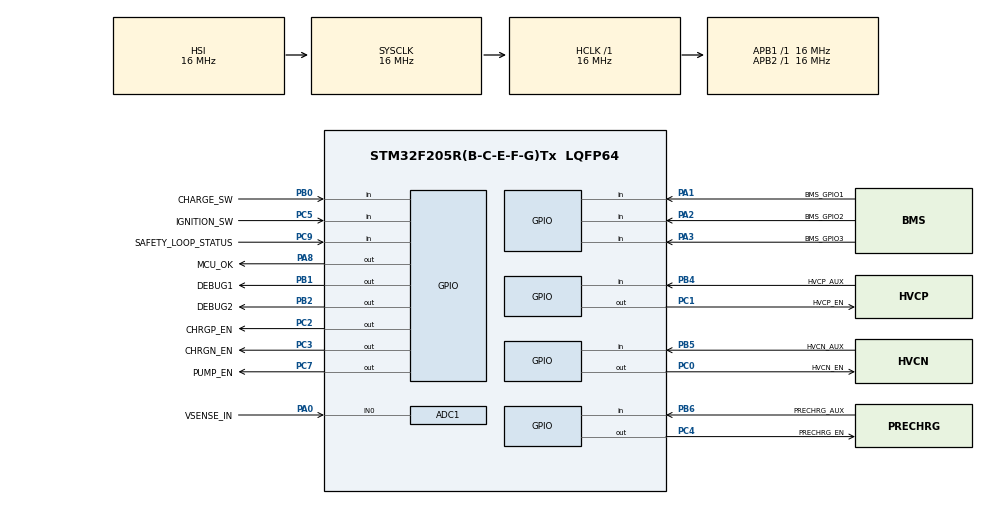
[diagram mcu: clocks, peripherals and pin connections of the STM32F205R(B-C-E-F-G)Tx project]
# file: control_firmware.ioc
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ADC1.Channel-1\#ChannelRegularConversion=ADC_CHANNEL_0
ADC1.NbrOfConversionFlag=1
ADC1.Rank-1\#ChannelRegularConversion=1
ADC1.SamplingTime-1\#ChannelRegularConversion=ADC_SAMPLETIME_3CYCLES
ADC1.master=1
Mcu.Family=STM32F2
Mcu.Name=STM32F205R(B-C-E-F-G)Tx
Mcu.Package=LQFP64
NVIC.PriorityGroup=NVIC_PRIORITYGROUP_4
PA0-WKUP.GPIO_Label=VSENSE_IN
PA0-WKUP.Signal=ADCx_IN0
PA1.GPIO_Label=BMS_GPIO1
PA1.Signal=GPIO_Input
PA2.GPIO_Label=BMS_GPIO2
PA2.Signal=GPIO_Input
PA3.GPIO_Label=BMS_GPIO3
PA3.Signal=GPIO_Input
PA8.GPIO_Label=MCU_OK
PA8.Signal=GPIO_Output
PB0.GPIO_Label=CHARGE_SW
PB0.GPIO_PuPd=GPIO_PULLDOWN
PB0.Signal=GPIO_Input
PB1.GPIO_Label=DEBUG1
PB1.Signal=GPIO_Output
PB2.GPIO_Label=DEBUG2
PB2.Signal=GPIO_Output
PB4.GPIO_Label=HVCP_AUX
PB4.Signal=GPIO_Input
PB5.GPIO_Label=HVCN_AUX
PB5.Signal=GPIO_Input
PB6.GPIO_Label=PRECHRG_AUX
PB6.Signal=GPIO_Input
PC0.GPIO_Label=HVCN_EN
PC0.Signal=GPIO_Output
PC1.GPIO_Label=HVCP_EN
PC1.Signal=GPIO_Output
PC2.GPIO_Label=CHRGP_EN
PC2.Signal=GPIO_Output
PC3.GPIO_Label=CHRGN_EN
PC3.Signal=GPIO_Output
PC4.GPIO_Label=PRECHRG_EN
PC4.Signal=GPIO_Output
PC5.GPIO_Label=IGNITION_SW
PC5.GPIO_PuPd=GPIO_PULLDOWN
PC5.Signal=GPIO_Input
PC7.GPIO_Label=PUMP_EN
PC7.Signal=GPIO_Output
PC9.GPIO_Label=SAFETY_LOOP_STATUS
PC9.Signal=GPIO_Input
ProjectManager.HeapSize=0x200
ProjectManager.StackSize=0x400
ProjectManager.TargetToolchain=STM32CubeIDE
RCC.48MHZClocksFreq_Value=48000000
RCC.AHBFreq_Value=16000000
RCC.APB1Freq_Value=16000000
RCC.APB2Freq_Value=16000000
RCC.CortexFreq_Value=16000000
RCC.HSE_VALUE=25000000
RCC.HSI_VALUE=16000000
RCC.LSE_VALUE=32768
RCC.SYSCLKFreq_VALUE=16000000
RCC.VCOOutputFreq_Value=192000000
SH.ADCx_IN0.0=ADC1_IN0,IN0
board=custom

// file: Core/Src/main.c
/* USER CODE BEGIN Header */
/**
  ******************************************************************************
  * @file           : main.c
  * @brief          : Main program body
  ******************************************************************************
  * @attention
  *
  * Copyright (c) 2024 STMicroelectronics.
  * All rights reserved.
  *
  * This software is licensed under terms that can be found in the LICENSE file
  * in the root directory of this software component.
  * If no LICENSE file comes with this software, it is provided AS-IS.
  *
  ******************************************************************************
  */
/* USER CODE END Header */
#include "main.h"

/* USER CODE BEGIN PD */
// using constants to represent state as int
#define STARTUP		0
#define OPERATION	1
#define	CHARGING	2
#define ERROR		3

/* USER CODE END PD */

ADC_HandleTypeDef hadc1;

void SystemClock_Config(void);
static void MX_GPIO_Init(void);
static void MX_ADC1_Init(void);

/* USER CODE BEGIN 0 */

void error_handler(void){
	HAL_GPIO_WritePin(DEBUG1_GPIO_Port, DEBUG1_Pin, GPIO_PIN_RESET);
	HAL_GPIO_WritePin(DEBUG2_GPIO_Port, DEBUG2_Pin, GPIO_PIN_RESET);
	HAL_GPIO_WritePin(MCU_OK_GPIO_Port, MCU_OK_Pin, GPIO_PIN_RESET);
	// should also close all relays
	// comms over canbus of what the error was?
	while(1){ //freeze everything off
		HAL_Delay(500);
	}
	return;
}

void discharge_handler(void){
	/*
	 Insert code for toggling relays and checking that aux opened
	*/

	// actually discharge the board
	HAL_GPIO_WritePin(MCU_OK_GPIO_Port, MCU_OK_Pin, GPIO_PIN_RESET);
	int i = 0;
	while (i < 5){ // replace w/ vsense code (break? on undervoltage)
		i++;
		HAL_Delay(500);
	}
	HAL_GPIO_WritePin(MCU_OK_GPIO_Port, MCU_OK_Pin, GPIO_PIN_SET);

	// LED demo code
	HAL_GPIO_WritePin(DEBUG1_GPIO_Port, DEBUG1_Pin, GPIO_PIN_RESET);
	return;
}

void toggle_precharge(void){
	/*
	 Insert code for toggling relays and checking that aux closed
	*/

	HAL_GPIO_WritePin(DEBUG1_GPIO_Port, DEBUG1_Pin, GPIO_PIN_SET);
	int i = 0;
	while (i < 5){ // replace w/ vsense code (break? on undervoltage)
		i++;
		HAL_GPIO_TogglePin(DEBUG1_GPIO_Port, DEBUG1_Pin);
		HAL_GPIO_TogglePin(DEBUG2_GPIO_Port, DEBUG2_Pin);
		HAL_Delay(500);
	}

	// LED demo code
	HAL_GPIO_WritePin(DEBUG1_GPIO_Port, DEBUG1_Pin, GPIO_PIN_SET);
	HAL_GPIO_WritePin(DEBUG2_GPIO_Port, DEBUG2_Pin, GPIO_PIN_RESET);
	return;
}

void toggle_charging(void){
	HAL_GPIO_WritePin(DEBUG2_GPIO_Port, DEBUG2_Pin, GPIO_PIN_SET);
	return;
}

void untoggle_charging(void){
	HAL_GPIO_WritePin(DEBUG2_GPIO_Port, DEBUG2_Pin, GPIO_PIN_RESET);
	return;
}

uint8_t get_switch_status(void){
	if (HAL_GPIO_ReadPin(IGNITION_SW_GPIO_Port, IGNITION_SW_Pin) == GPIO_PIN_SET){
		if (HAL_GPIO_ReadPin(CHARGE_SW_GPIO_Port, CHARGE_SW_Pin) == GPIO_PIN_SET){
			return ERROR;
		} else {
			return OPERATION;
		}
	} else {
		if (HAL_GPIO_ReadPin(CHARGE_SW_GPIO_Port, CHARGE_SW_Pin) == GPIO_PIN_SET){
			return CHARGING;
		} else {
			return STARTUP;
		}
	}
	return ERROR;
}

void aux_check(uint8_t){
	HAL_Delay(500);
	return;
	//placeholder
}

/* USER CODE END 0 */

int main(void)
{

  /* MCU Configuration--------------------------------------------------------*/

  /* Reset of all peripherals, Initializes the Flash interface and the Systick. */
  HAL_Init();

  /* Configure the system clock */
  SystemClock_Config();

  /* Initialize all configured peripherals */
  MX_GPIO_Init();
  MX_ADC1_Init();
  /* USER CODE BEGIN 2 */

  // Setup
  uint8_t status = STARTUP;
  uint8_t new_status;
  HAL_Delay(500);
  HAL_GPIO_WritePin(MCU_OK_GPIO_Port, MCU_OK_Pin, GPIO_PIN_SET);

  /* USER CODE END 2 */

  /* Infinite loop */
  /* USER CODE BEGIN WHILE */
  while (1)
  {
	  new_status = get_switch_status();
	  if (new_status == ERROR){
		  error_handler();
	  }

	  if(new_status != status){ // handles change of switch state
		  if (status == STARTUP){ // where can you go from startup:
			  if (new_status == OPERATION){
				  toggle_precharge();
				  status = OPERATION;
			  } else if (new_status == CHARGING){
				  toggle_charging();
				  status = CHARGING;
			  } else {
				  error_handler(); // should never reach here
			  }
		  } else if (status == OPERATION){ // where can you go from operation:
			  if (new_status == STARTUP){
				  discharge_handler();
				  status = STARTUP;
			  } else {
				  error_handler(); // should never reach here
			  }
		  } else if (status == CHARGING){ // where can you go from operation:
			  if (new_status == STARTUP){
				  untoggle_charging();
				  status = STARTUP;
			  } else {
				  error_handler(); // should never reach here
			  }
		  } else {
			  status = ERROR;
			  error_handler();
		  }
	  }

	  aux_check(status); // to be implemented
    /* USER CODE END WHILE */

  }
}

void SystemClock_Config(void)
{
  RCC_OscInitTypeDef RCC_OscInitStruct = {0};
  RCC_ClkInitTypeDef RCC_ClkInitStruct = {0};

  /** Initializes the RCC Oscillators according to the specified parameters
  * in the RCC_OscInitTypeDef structure.
  */
  RCC_OscInitStruct.OscillatorType = RCC_OSCILLATORTYPE_HSI;
  RCC_OscInitStruct.HSIState = RCC_HSI_ON;
  RCC_OscInitStruct.HSICalibrationValue = RCC_HSICALIBRATION_DEFAULT;
  RCC_OscInitStruct.PLL.PLLState = RCC_PLL_NONE;
  if (HAL_RCC_OscConfig(&RCC_OscInitStruct) != HAL_OK)
  {
    Error_Handler();
  }

  /** Initializes the CPU, AHB and APB buses clocks
  */
  RCC_ClkInitStruct.ClockType = RCC_CLOCKTYPE_HCLK|RCC_CLOCKTYPE_SYSCLK
                              |RCC_CLOCKTYPE_PCLK1|RCC_CLOCKTYPE_PCLK2;
  RCC_ClkInitStruct.SYSCLKSource = RCC_SYSCLKSOURCE_HSI;
  RCC_ClkInitStruct.AHBCLKDivider = RCC_SYSCLK_DIV1;
  RCC_ClkInitStruct.APB1CLKDivider = RCC_HCLK_DIV1;
  RCC_ClkInitStruct.APB2CLKDivider = RCC_HCLK_DIV1;

  if (HAL_RCC_ClockConfig(&RCC_ClkInitStruct, FLASH_LATENCY_0) != HAL_OK)
  {
    Error_Handler();
  }
}

static void MX_ADC1_Init(void)
{

  ADC_ChannelConfTypeDef sConfig = {0};

  /** Configure the global features of the ADC (Clock, Resolution, Data Alignment and number of conversion)
  */
  hadc1.Instance = ADC1;
  hadc1.Init.ClockPrescaler = ADC_CLOCK_SYNC_PCLK_DIV2;
  hadc1.Init.Resolution = ADC_RESOLUTION_12B;
  hadc1.Init.ScanConvMode = DISABLE;
  hadc1.Init.ContinuousConvMode = DISABLE;
  hadc1.Init.DiscontinuousConvMode = DISABLE;
  hadc1.Init.ExternalTrigConvEdge = ADC_EXTERNALTRIGCONVEDGE_NONE;
  hadc1.Init.ExternalTrigConv = ADC_SOFTWARE_START;
  hadc1.Init.DataAlign = ADC_DATAALIGN_RIGHT;
  hadc1.Init.NbrOfConversion = 1;
  hadc1.Init.DMAContinuousRequests = DISABLE;
  hadc1.Init.EOCSelection = ADC_EOC_SINGLE_CONV;
  if (HAL_ADC_Init(&hadc1) != HAL_OK)
  {
    Error_Handler();
  }

  /** Configure for the selected ADC regular channel its corresponding rank in the sequencer and its sample time.
  */
  sConfig.Channel = ADC_CHANNEL_0;
  sConfig.Rank = 1;
  sConfig.SamplingTime = ADC_SAMPLETIME_3CYCLES;
  if (HAL_ADC_ConfigChannel(&hadc1, &sConfig) != HAL_OK)
  {
    Error_Handler();
  }

}

static void MX_GPIO_Init(void)
{
  GPIO_InitTypeDef GPIO_InitStruct = {0};

  /* GPIO Ports Clock Enable */
  __HAL_RCC_GPIOC_CLK_ENABLE();
  __HAL_RCC_GPIOA_CLK_ENABLE();
  __HAL_RCC_GPIOB_CLK_ENABLE();

  /*Configure GPIO pin Output Level */
  HAL_GPIO_WritePin(GPIOC, HVCN_EN_Pin|HVCP_EN_Pin|CHRGP_EN_Pin|CHRGN_EN_Pin
                          |PRECHRG_EN_Pin|PUMP_EN_Pin, GPIO_PIN_RESET);

  /*Configure GPIO pin Output Level */
  HAL_GPIO_WritePin(GPIOB, DEBUG1_Pin|DEBUG2_Pin, GPIO_PIN_RESET);

  /*Configure GPIO pin Output Level */
  HAL_GPIO_WritePin(MCU_OK_GPIO_Port, MCU_OK_Pin, GPIO_PIN_RESET);

  /*Configure GPIO pins : HVCN_EN_Pin HVCP_EN_Pin CHRGP_EN_Pin CHRGN_EN_Pin
                           PRECHRG_EN_Pin PUMP_EN_Pin */
  GPIO_InitStruct.Pin = HVCN_EN_Pin|HVCP_EN_Pin|CHRGP_EN_Pin|CHRGN_EN_Pin
                          |PRECHRG_EN_Pin|PUMP_EN_Pin;
  GPIO_InitStruct.Mode = GPIO_MODE_OUTPUT_PP;
  GPIO_InitStruct.Pull = GPIO_NOPULL;
  GPIO_InitStruct.Speed = GPIO_SPEED_FREQ_LOW;
  HAL_GPIO_Init(GPIOC, &GPIO_InitStruct);

  /*Configure GPIO pins : BMS_GPIO1_Pin BMS_GPIO2_Pin BMS_GPIO3_Pin */
  GPIO_InitStruct.Pin = BMS_GPIO1_Pin|BMS_GPIO2_Pin|BMS_GPIO3_Pin;
  GPIO_InitStruct.Mode = GPIO_MODE_INPUT;
  GPIO_InitStruct.Pull = GPIO_NOPULL;
  HAL_GPIO_Init(GPIOA, &GPIO_InitStruct);

  /*Configure GPIO pin : IGNITION_SW_Pin */
  GPIO_InitStruct.Pin = IGNITION_SW_Pin;
  GPIO_InitStruct.Mode = GPIO_MODE_INPUT;
  GPIO_InitStruct.Pull = GPIO_PULLDOWN;
  HAL_GPIO_Init(IGNITION_SW_GPIO_Port, &GPIO_InitStruct);

  /*Configure GPIO pin : CHARGE_SW_Pin */
  GPIO_InitStruct.Pin = CHARGE_SW_Pin;
  GPIO_InitStruct.Mode = GPIO_MODE_INPUT;
  GPIO_InitStruct.Pull = GPIO_PULLDOWN;
  HAL_GPIO_Init(CHARGE_SW_GPIO_Port, &GPIO_InitStruct);

  /*Configure GPIO pins : DEBUG1_Pin DEBUG2_Pin */
  GPIO_InitStruct.Pin = DEBUG1_Pin|DEBUG2_Pin;
  GPIO_InitStruct.Mode = GPIO_MODE_OUTPUT_PP;
  GPIO_InitStruct.Pull = GPIO_NOPULL;
  GPIO_InitStruct.Speed = GPIO_SPEED_FREQ_LOW;
  HAL_GPIO_Init(GPIOB, &GPIO_InitStruct);

  /*Configure GPIO pin : SAFETY_LOOP_STATUS_Pin */
  GPIO_InitStruct.Pin = SAFETY_LOOP_STATUS_Pin;
  GPIO_InitStruct.Mode = GPIO_MODE_INPUT;
  GPIO_InitStruct.Pull = GPIO_NOPULL;
  HAL_GPIO_Init(SAFETY_LOOP_STATUS_GPIO_Port, &GPIO_InitStruct);

  /*Configure GPIO pin : MCU_OK_Pin */
  GPIO_InitStruct.Pin = MCU_OK_Pin;
  GPIO_InitStruct.Mode = GPIO_MODE_OUTPUT_PP;
  GPIO_InitStruct.Pull = GPIO_NOPULL;
  GPIO_InitStruct.Speed = GPIO_SPEED_FREQ_LOW;
  HAL_GPIO_Init(MCU_OK_GPIO_Port, &GPIO_InitStruct);

  /*Configure GPIO pins : HVCP_AUX_Pin HVCN_AUX_Pin PRECHRG_AUX_Pin */
  GPIO_InitStruct.Pin = HVCP_AUX_Pin|HVCN_AUX_Pin|PRECHRG_AUX_Pin;
  GPIO_InitStruct.Mode = GPIO_MODE_INPUT;
  GPIO_InitStruct.Pull = GPIO_NOPULL;
  HAL_GPIO_Init(GPIOB, &GPIO_InitStruct);

}

void Error_Handler(void)
{
  __disable_irq();
  while (1)
  {
  }
}
